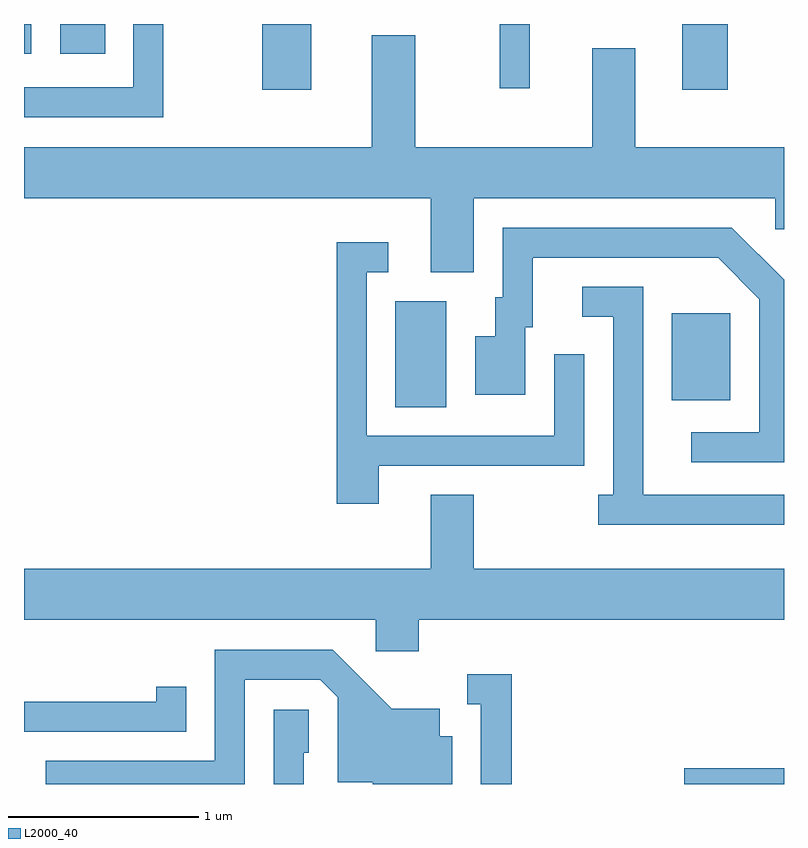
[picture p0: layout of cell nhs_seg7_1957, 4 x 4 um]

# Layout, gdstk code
import gdstk
lib = gdstk.Library(unit=1e-6, precision=1e-09)
def R(c, l, rs):  # rectangles x0, y0, x1, y1
    for r in rs: c.add(gdstk.rectangle(r[:2], r[2:], *l))
def P(c, l, *ps):  # polygons
    for p in ps: c.add(gdstk.Polygon(p, *l))
L2000_40 = (2000, 40)

nhs_seg7_1957 = lib.new_cell('nhs_seg7_1957')
R(nhs_seg7_1957, L2000_40, [(247.086,1802.252,247.611,1802.334), (245.566,1804.236,245.834,1804.794), (247.021,1804.271,247.329,1804.729), (244.866,1805.906,245.124,1806.252), (247.076,1805.906,247.314,1806.252), (246.116,1805.913,246.274,1806.252), (243.611,1806.096,243.649,1806.252), (243.801,1806.096,244.038,1806.252)])
P(nhs_seg7_1957, L2000_40, [(244.344,1806.252),(244.186,1806.252),(244.186,1805.919),(243.611,1805.919),(243.611,1805.761),(244.344,1805.761)],
  [(245.979,1805.336),(247.566,1805.336),(247.566,1805.171),(247.611,1805.171),(247.611,1805.604),(246.829,1805.604),(246.829,1806.124),(246.601,1806.124),(246.601,1805.604),(245.669,1805.604),(245.669,1806.194),(245.441,1806.194),(245.441,1805.604),(243.611,1805.604),(243.611,1805.336),(245.751,1805.336),(245.751,1804.946),(245.979,1804.946)],
  [(247.611,1804.905),(247.337,1805.179),(246.131,1805.179),(246.131,1804.814),(246.091,1804.814),(246.091,1804.609),(245.986,1804.609),(245.986,1804.301),(246.249,1804.301),(246.249,1804.656),(246.289,1804.656),(246.289,1805.021),(247.264,1805.021),(247.481,1804.804),(247.481,1804.104),(247.123,1804.104),(247.123,1803.946),(247.611,1803.946)],
  [(245.479,1803.926),(246.559,1803.926),(246.559,1804.513),(246.401,1804.513),(246.401,1804.084),(245.414,1804.084),(245.414,1804.946),(245.528,1804.946),(245.528,1805.104),(245.256,1805.104),(245.256,1803.726),(245.479,1803.726)],
  [(247.611,1803.774),(246.869,1803.774),(246.869,1804.869),(246.548,1804.869),(246.548,1804.711),(246.711,1804.711),(246.711,1803.774),(246.633,1803.774),(246.633,1803.616),(247.611,1803.616)],
  [(245.689,1803.116),(247.611,1803.116),(247.611,1803.384),(245.979,1803.384),(245.979,1803.774),(245.751,1803.774),(245.751,1803.384),(243.611,1803.384),(243.611,1803.116),(245.461,1803.116),(245.461,1802.951),(245.689,1802.951)],
  [(244.774,1802.801),(245.169,1802.801),(245.261,1802.709),(245.261,1802.261),(245.446,1802.261),(245.446,1802.252),(245.864,1802.252),(245.864,1802.504),(245.799,1802.504),(245.799,1802.649),(245.547,1802.649),(245.237,1802.959),(244.616,1802.959),(244.616,1802.374),(243.726,1802.374),(243.726,1802.252),(244.774,1802.252)],
  [(246.179,1802.829),(245.943,1802.829),(245.943,1802.671),(246.016,1802.671),(246.016,1802.252),(246.179,1802.252)],
  [(244.464,1802.763),(244.306,1802.763),(244.306,1802.684),(243.611,1802.684),(243.611,1802.526),(244.464,1802.526)],
  [(245.084,1802.416),(245.109,1802.416),(245.109,1802.644),(244.926,1802.644),(244.926,1802.252),(245.084,1802.252)])

lib.write_gds('nhs_seg7_1957.gds')
